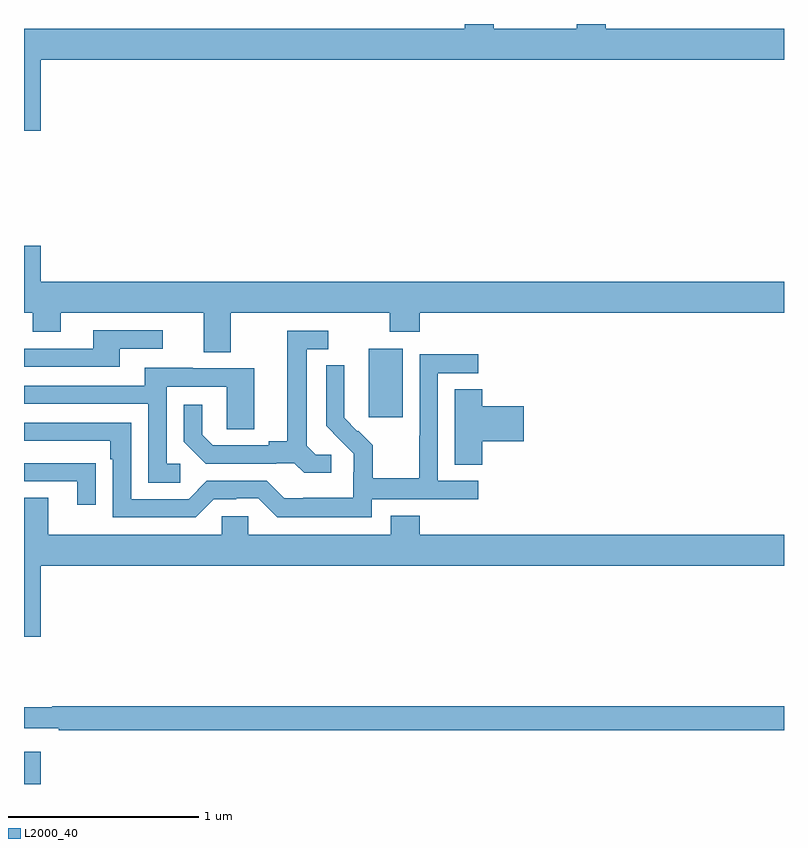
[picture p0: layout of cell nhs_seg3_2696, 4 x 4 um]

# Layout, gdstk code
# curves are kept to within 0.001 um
import gdstk
lib = gdstk.Library(unit=1e-6, precision=1e-09)
def R(c, l, rs):  # rectangles x0, y0, x1, y1
    for r in rs: c.add(gdstk.rectangle(r[:2], r[2:], *l))
def P(c, l, *ps):  # polygons
    for p in ps: c.add(gdstk.Polygon(p, *l))
L2000_40 = (2000, 40)

nhs_seg3_2696 = lib.new_cell('nhs_seg3_2696')
R(nhs_seg3_2696, L2000_40, [(249,734.4,249.088,734.569), (250.814,736.329,250.993,736.69)])
P(nhs_seg3_2696, L2000_40, [(249.088,738.212),(253,738.212),(253,738.376),(252.062,738.376),(252.062,738.4),(251.909,738.4),(251.909,738.376),(251.473,738.376),(251.473,738.4),(251.321,738.4),(251.321,738.376),(249,738.376),(249,737.838),(249.088,737.838)],
  [(249.088,737.233),(249,737.233),(249,736.88),(249.046,736.88),(249.046,736.781),(249.193,736.781),(249.193,736.88),(249.947,736.88),(249.947,736.672),(250.087,736.672),(250.087,736.88),(250.924,736.88),(250.924,736.781),(251.084,736.781),(251.084,736.88),(253,736.88),(253,737.044),(249.088,737.044)],
  [(249.505,736.692),(249.73,736.692),(249.73,736.788),(249.365,736.788),(249.365,736.692),(249,736.692),(249,736.596),(249.505,736.596)],
  [(250.618,736.134),(250.536,736.134),(250.489,736.181),(250.489,736.689),(250.6,736.689),(250.6,736.785),(250.385,736.785),(250.385,736.205),(250.289,736.205),(250.289,736.182),(249.994,736.182),(249.937,736.239),(249.937,736.396),(249.84,736.396),(249.84,736.202),(249.956,736.086),(250.328,736.086),(250.328,736.089),(250.422,736.089),(250.474,736.037),(250.618,736.037)],
  [(250.83,735.9),(251.392,735.9),(251.392,735.996),(251.178,735.996),(251.178,736.563),(251.392,736.563),(251.392,736.662),(251.082,736.662),(251.082,736.232),(251.08,736.232),(251.08,736.009),(250.835,736.009),(250.835,736.183),(250.758,736.26),(250.755,736.257),(250.685,736.328),(250.686,736.604),(250.59,736.604),(250.59,736.286),(250.736,736.138),(250.736,736.041),(250.734,736.041),(250.734,735.907),(250.471,735.907),(250.471,735.903),(250.371,735.903),(250.278,735.996),(249.963,735.996),(249.867,735.9),(249.564,735.9),(249.564,736.302),(249,736.302),(249,736.206),(249.455,736.206),(249.455,736.109),(249.468,736.109),(249.468,735.804),(249.903,735.804),(249.999,735.9),(250.118,735.9),(250.118,735.903),(250.233,735.903),(250.333,735.803),(250.83,735.803)],
  [(249.823,736.086),(249.75,736.086),(249.75,736.491),(250.068,736.491),(250.068,736.267),(250.213,736.267),(250.213,736.587),(249.889,736.587),(249.889,736.591),(249.635,736.591),(249.635,736.497),(249,736.497),(249,736.401),(249.654,736.401),(249.654,735.985),(249.823,735.985)],
  [(251.411,736.205),(251.629,736.205),(251.629,736.388),(251.411,736.388),(251.411,736.478),(251.267,736.478),(251.267,736.081),(251.411,736.081)],
  [(249.377,736.088),(249.275,736.088),(249.275,736.089),(249,736.089),(249,735.993),(249.281,735.993),(249.281,735.87),(249.377,735.87)],
  [(249.088,735.548),(253,735.548),(253,735.712),(251.084,735.712),(251.084,735.811),(250.931,735.811),(250.931,735.712),(250.179,735.712),(250.179,735.81),(250.041,735.81),(250.041,735.712),(249.127,735.712),(249.127,735.907),(249,735.907),(249,735.174),(249.088,735.174)],
  [(253,734.81),(249.148,734.81),(249.148,734.803),(249,734.803),(249,734.694),(249.184,734.694),(249.184,734.682),(253,734.682)])

lib.write_gds('nhs_seg3_2696.gds')
